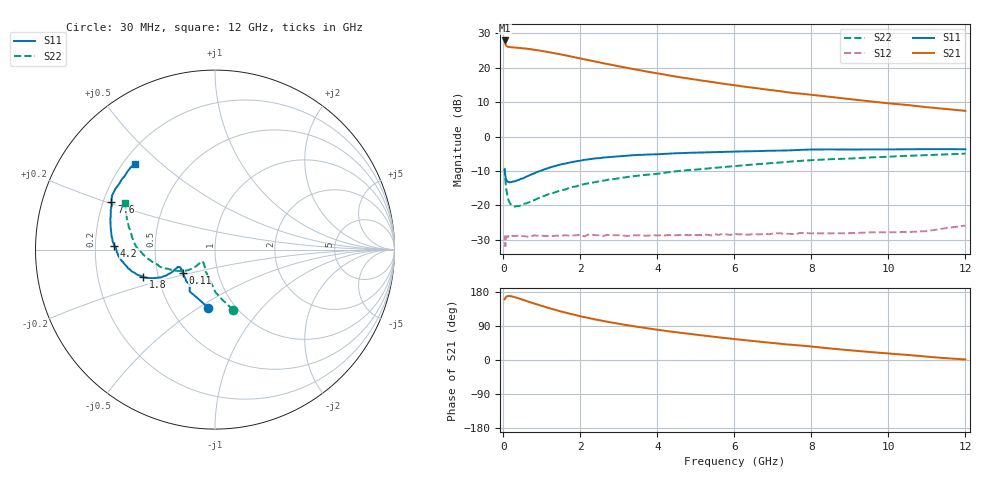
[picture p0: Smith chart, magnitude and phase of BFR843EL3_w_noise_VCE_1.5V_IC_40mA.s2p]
! Infineon Technologies  Discrete & RF Semiconductors
! BFR843EL3
! VCE =  1.5 V,  IC =  40 mA
! Common Emitter S-Parameters:  Aug 2013
# GHz  S  MA  R  50
!  f  S11  S21  S12  S22
! GHz  MAG  ANG  MAG  ANG  MAG  ANG  MAG  ANG
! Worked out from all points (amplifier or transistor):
!   103 points, 30 MHz to 12 GHz, reference 50 ohm
!   highest |S21| = 27.9 dB at 30 MHz (marker M1)
!   |S21| within 3 dB of that: start of sweep to 974.8 MHz
!   unconditionally stable (mu >= 1): 99.01 MHz to 1.152 GHz; 2.08 GHz to 2.119 GHz; 2.468 GHz to end of sweep
!   at 400 MHz: K = 1.02, MAG = 26.3 dB, |S12| = -28.7 dB
!   at 3.7 GHz: K = 1.11, MAG = 21.8 dB, |S12| = -28.8 dB
!   at 12 GHz: K = 1.84, MAG = 11.3 dB, |S12| = -25.8 dB
!   lowest NFmin = 1.51 dB at 450 MHz
!   S11 on the Smith chart (normalised r, x): 30 MHz: 0.76, -0.55; 110 MHz: 0.67, -0.18; 1.8 GHz: 0.41, -0.15; 4.2 GHz: 0.28, +0.02; 7.6 GHz: 0.23, +0.21; 12 GHz: 0.25, +0.41
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0.03  0.3274 -96.5  24.69 160.0  0.0313 26.7  0.3515 -73.2
0.04  0.2879 -109.5  22.91 161.9  0.0358 20.5  0.2816 -81.8
0.06  0.2398 -126.2  21.14 165.3  0.0309 21.9  0.2023 -93.7
0.08  0.2307 -135.8  20.51 167.2  0.0351 12.1  0.1624 -103.2
0.11  0.2216 -144.4  20.08 168.4  0.0351 8.1  0.1329 -112.9
0.15  0.2164 -149.0  19.86 168.9  0.0362 1.9  0.1126 -120.7
0.2  0.2179 -152.9  19.69 168.2  0.0375 5.2  0.1017 -126.4
0.6  0.2624 -152.6  18.78 155.7  0.0355 3.1  0.1076 -137.3
1  0.3236 -152.6  17.39 142.7  0.0364 3.4  0.1336 -138.5
1.4  0.381 -155.3  15.85 130.8  0.0365 4.8  0.1592 -140.1
1.8  0.4272 -159.3  14.29 120.3  0.0366 6.1  0.1861 -142.3
2.1  0.458 -162.5  13.16 113.1  0.0355 5.6  0.2046 -144.9
2.6  0.4959 -167.9  11.53 102.8  0.0361 5.5  0.2291 -149.0
3.1  0.5218 -172.8  10.17 93.8  0.0365 9.3  0.253 -152.4
4.1  0.556 178.5  8.053 78.5  0.0371 10.2  0.2925 -158.8
4.2  0.5609 177.7  7.877 77.1  0.0367 11.5  0.2992 -159.4
5.1  0.586 170.7  6.533 65.6  0.0374 13.0  0.3348 -165.9
6.1  0.6067 164.1  5.441 54.2  0.038 15.6  0.3762 -172.2
7.6  0.6358 155.2  4.235 39.2  0.0385 20.3  0.4395 177.8
8.5  0.6496 148.6  3.749 30.3  0.0393 21.2  0.4688 171.2
10.5  0.653 138.5  2.859 13.3  0.0412 32.1  0.5243 159.8
12  0.6536 133.1  2.356 1.5  0.0511 39.5  0.5641 152.9
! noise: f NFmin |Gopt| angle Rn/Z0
0.45  1.51  0.24  180  0.12
0.9  1.55  0.25  179  0.11
1.5  1.56  0.26  178  0.11
1.9  1.55  0.27  179  0.11
2.4  1.57  0.29  183  0.11
3.5  1.57  0.3  188  0.11
5.5  1.58  0.38  199  0.1
8  1.59  0.47  213  0.11
10  1.6  0.54  230  0.15
